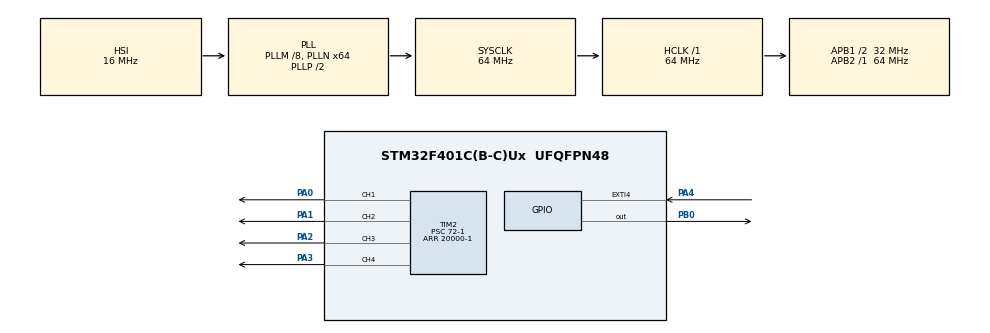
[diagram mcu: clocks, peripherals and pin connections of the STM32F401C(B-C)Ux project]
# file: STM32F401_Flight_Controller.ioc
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FREERTOS.BinarySemaphores01=SemaphoreButton,Dynamic,NULL
FREERTOS.Tasks01=handleButton,16,128,HandleButton,Default,NULL,Dynamic,NULL,NULL
FREERTOS.configUSE_NEWLIB_REENTRANT=1
Mcu.Family=STM32F4
Mcu.Name=STM32F401C(B-C)Ux
Mcu.Package=UFQFPN48
NVIC.EXTI4_IRQn=true\:5\:0\:false\:false\:true\:true\:true\:true
NVIC.PriorityGroup=NVIC_PRIORITYGROUP_4
NVIC.TIM1_UP_TIM10_IRQn=true\:5\:0\:false\:false\:true\:false\:false\:true
NVIC.TimeBase=TIM1_UP_TIM10_IRQn
NVIC.TimeBaseIP=TIM10
PA0-WKUP.Signal=S_TIM2_CH1_ETR
PA1.Signal=S_TIM2_CH2
PA2.Signal=S_TIM2_CH3
PA3.Signal=S_TIM2_CH4
PA4.GPIO_PuPd=GPIO_PULLDOWN
PA4.Signal=GPXTI4
PB0.Signal=GPIO_Output
ProjectManager.HeapSize=0x200
ProjectManager.StackSize=0x400
ProjectManager.TargetToolchain=STM32CubeIDE
RCC.48MHZClocksFreq_Value=32000000
RCC.AHBFreq_Value=64000000
RCC.APB1CLKDivider=RCC_HCLK_DIV2
RCC.APB1Freq_Value=32000000
RCC.APB1TimFreq_Value=64000000
RCC.APB2Freq_Value=64000000
RCC.APB2TimFreq_Value=64000000
RCC.CortexFreq_Value=64000000
RCC.HCLKFreq_Value=64000000
RCC.HSE_VALUE=25000000
RCC.HSI_VALUE=16000000
RCC.LSE_VALUE=32768
RCC.PLLM=8
RCC.PLLN=64
RCC.SYSCLKFreq_VALUE=64000000
RCC.SYSCLKSource=RCC_SYSCLKSOURCE_PLLCLK
RCC.VCOOutputFreq_Value=128000000
SH.S_TIM2_CH1_ETR.0=TIM2_CH1,PWM Generation1 CH1
SH.S_TIM2_CH2.0=TIM2_CH2,PWM Generation2 CH2
SH.S_TIM2_CH3.0=TIM2_CH3,PWM Generation3 CH3
SH.S_TIM2_CH4.0=TIM2_CH4,PWM Generation4 CH4
TIM2.Channel-PWM\ Generation1\ CH1=TIM_CHANNEL_1
TIM2.Channel-PWM\ Generation2\ CH2=TIM_CHANNEL_2
TIM2.Channel-PWM\ Generation3\ CH3=TIM_CHANNEL_3
TIM2.Channel-PWM\ Generation4\ CH4=TIM_CHANNEL_4
TIM2.Period=20000-1
TIM2.Prescaler=72-1
VP_FREERTOS_VS_CMSIS_V2.Mode=CMSIS_V2
VP_SYS_VS_tim10.Mode=TIM10
VP_TIM2_VS_ClockSourceINT.Mode=Internal
board=custom

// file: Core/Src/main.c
/* USER CODE BEGIN Header */
/**
  ******************************************************************************
  * @file           : main.c
  * @brief          : Main program body
  ******************************************************************************
  * @attention
  *
  * <h2><center>&copy; Copyright (c) 2021 STMicroelectronics.
  * All rights reserved.</center></h2>
  *
  * This software component is licensed by ST under Ultimate Liberty license
  * SLA0044, the "License"; You may not use this file except in compliance with
  * the License. You may obtain a copy of the License at:
  *                             www.st.com/SLA0044
  *
  ******************************************************************************
  */
/* USER CODE END Header */
#include "main.h"
#include "cmsis_os.h"
#include "driver.h"

/* USER CODE BEGIN PD */

#define BUTTON_INPUT_PIN GPIO_PIN_4
#define BUTTON_INPUT_PORT GPIOA
/* USER CODE END PD */

TIM_HandleTypeDef htim2;

/* Definitions for handleButton */
osThreadId_t handleButtonHandle;
const osThreadAttr_t handleButton_attributes = {
  .name = "handleButton",
  .stack_size = 128 * 4,
  .priority = (osPriority_t) osPriorityBelowNormal,
};
/* Definitions for SemaphoreButton */
osSemaphoreId_t SemaphoreButtonHandle;
const osSemaphoreAttr_t SemaphoreButton_attributes = {
  .name = "SemaphoreButton"
};

void SystemClock_Config(void);
static void MX_GPIO_Init(void);
static void MX_TIM2_Init(void);
void HandleButton(void *argument);

int main(void)
{

  /* MCU Configuration--------------------------------------------------------*/

  /* Reset of all peripherals, Initializes the Flash interface and the Systick. */
  HAL_Init();

  /* Configure the system clock */
  SystemClock_Config();

  /* USER CODE BEGIN SysInit */
  Innit_System();
  /* USER CODE END SysInit */

  /* Initialize all configured peripherals */
  MX_GPIO_Init();
  MX_TIM2_Init();

  /* Init scheduler */
  osKernelInitialize();

  /* Create the semaphores(s) */
  /* creation of SemaphoreButton */
  SemaphoreButtonHandle = osSemaphoreNew(1, 1, &SemaphoreButton_attributes);

  /* USER CODE BEGIN RTOS_SEMAPHORES */
  /* add semaphores, ... */
  osSemaphoreAcquire(SemaphoreButtonHandle, osWaitForever);
  /* USER CODE END RTOS_SEMAPHORES */

  /* Create the thread(s) */
  /* creation of handleButton */
  handleButtonHandle = osThreadNew(HandleButton, NULL, &handleButton_attributes);

  /* Start scheduler */
  osKernelStart();

  /* We should never get here as control is now taken by the scheduler */
  /* Infinite loop */
  while (1)
  {

  }
}

void SystemClock_Config(void)
{
  RCC_OscInitTypeDef RCC_OscInitStruct = {0};
  RCC_ClkInitTypeDef RCC_ClkInitStruct = {0};

  /** Configure the main internal regulator output voltage
  */
  __HAL_RCC_PWR_CLK_ENABLE();
  __HAL_PWR_VOLTAGESCALING_CONFIG(PWR_REGULATOR_VOLTAGE_SCALE2);
  /** Initializes the RCC Oscillators according to the specified parameters
  * in the RCC_OscInitTypeDef structure.
  */
  RCC_OscInitStruct.OscillatorType = RCC_OSCILLATORTYPE_HSI;
  RCC_OscInitStruct.HSIState = RCC_HSI_ON;
  RCC_OscInitStruct.HSICalibrationValue = RCC_HSICALIBRATION_DEFAULT;
  RCC_OscInitStruct.PLL.PLLState = RCC_PLL_ON;
  RCC_OscInitStruct.PLL.PLLSource = RCC_PLLSOURCE_HSI;
  RCC_OscInitStruct.PLL.PLLM = 8;
  RCC_OscInitStruct.PLL.PLLN = 64;
  RCC_OscInitStruct.PLL.PLLP = RCC_PLLP_DIV2;
  RCC_OscInitStruct.PLL.PLLQ = 4;
  if (HAL_RCC_OscConfig(&RCC_OscInitStruct) != HAL_OK)
  {
    Error_Handler();
  }
  /** Initializes the CPU, AHB and APB buses clocks
  */
  RCC_ClkInitStruct.ClockType = RCC_CLOCKTYPE_HCLK|RCC_CLOCKTYPE_SYSCLK
                              |RCC_CLOCKTYPE_PCLK1|RCC_CLOCKTYPE_PCLK2;
  RCC_ClkInitStruct.SYSCLKSource = RCC_SYSCLKSOURCE_PLLCLK;
  RCC_ClkInitStruct.AHBCLKDivider = RCC_SYSCLK_DIV1;
  RCC_ClkInitStruct.APB1CLKDivider = RCC_HCLK_DIV2;
  RCC_ClkInitStruct.APB2CLKDivider = RCC_HCLK_DIV1;

  if (HAL_RCC_ClockConfig(&RCC_ClkInitStruct, FLASH_LATENCY_2) != HAL_OK)
  {
    Error_Handler();
  }
}

static void MX_TIM2_Init(void)
{

  TIM_ClockConfigTypeDef sClockSourceConfig = {0};
  TIM_MasterConfigTypeDef sMasterConfig = {0};
  TIM_OC_InitTypeDef sConfigOC = {0};

  htim2.Instance = TIM2;
  htim2.Init.Prescaler = 72-1;
  htim2.Init.CounterMode = TIM_COUNTERMODE_UP;
  htim2.Init.Period = 20000-1;
  htim2.Init.ClockDivision = TIM_CLOCKDIVISION_DIV1;
  htim2.Init.AutoReloadPreload = TIM_AUTORELOAD_PRELOAD_DISABLE;
  if (HAL_TIM_Base_Init(&htim2) != HAL_OK)
  {
    Error_Handler();
  }
  sClockSourceConfig.ClockSource = TIM_CLOCKSOURCE_INTERNAL;
  if (HAL_TIM_ConfigClockSource(&htim2, &sClockSourceConfig) != HAL_OK)
  {
    Error_Handler();
  }
  if (HAL_TIM_PWM_Init(&htim2) != HAL_OK)
  {
    Error_Handler();
  }
  sMasterConfig.MasterOutputTrigger = TIM_TRGO_RESET;
  sMasterConfig.MasterSlaveMode = TIM_MASTERSLAVEMODE_DISABLE;
  if (HAL_TIMEx_MasterConfigSynchronization(&htim2, &sMasterConfig) != HAL_OK)
  {
    Error_Handler();
  }
  sConfigOC.OCMode = TIM_OCMODE_PWM1;
  sConfigOC.Pulse = 0;
  sConfigOC.OCPolarity = TIM_OCPOLARITY_HIGH;
  sConfigOC.OCFastMode = TIM_OCFAST_DISABLE;
  if (HAL_TIM_PWM_ConfigChannel(&htim2, &sConfigOC, TIM_CHANNEL_1) != HAL_OK)
  {
    Error_Handler();
  }
  if (HAL_TIM_PWM_ConfigChannel(&htim2, &sConfigOC, TIM_CHANNEL_2) != HAL_OK)
  {
    Error_Handler();
  }
  if (HAL_TIM_PWM_ConfigChannel(&htim2, &sConfigOC, TIM_CHANNEL_3) != HAL_OK)
  {
    Error_Handler();
  }
  if (HAL_TIM_PWM_ConfigChannel(&htim2, &sConfigOC, TIM_CHANNEL_4) != HAL_OK)
  {
    Error_Handler();
  }
  HAL_TIM_MspPostInit(&htim2);

}

static void MX_GPIO_Init(void)
{
  GPIO_InitTypeDef GPIO_InitStruct = {0};

  /* GPIO Ports Clock Enable */
  __HAL_RCC_GPIOA_CLK_ENABLE();
  __HAL_RCC_GPIOB_CLK_ENABLE();

  /*Configure GPIO pin Output Level */
  HAL_GPIO_WritePin(GPIOB, GPIO_PIN_0, GPIO_PIN_RESET);

  /*Configure GPIO pin : PA4 */
  GPIO_InitStruct.Pin = GPIO_PIN_4;
  GPIO_InitStruct.Mode = GPIO_MODE_IT_RISING;
  GPIO_InitStruct.Pull = GPIO_PULLDOWN;
  HAL_GPIO_Init(GPIOA, &GPIO_InitStruct);

  /*Configure GPIO pin : PB0 */
  GPIO_InitStruct.Pin = GPIO_PIN_0;
  GPIO_InitStruct.Mode = GPIO_MODE_OUTPUT_PP;
  GPIO_InitStruct.Pull = GPIO_NOPULL;
  GPIO_InitStruct.Speed = GPIO_SPEED_FREQ_LOW;
  HAL_GPIO_Init(GPIOB, &GPIO_InitStruct);

  /* EXTI interrupt init*/
  HAL_NVIC_SetPriority(EXTI4_IRQn, 5, 0);
  HAL_NVIC_EnableIRQ(EXTI4_IRQn);

}

/* USER CODE BEGIN 4 */

void HAL_GPIO_EXTI_Callback (uint16_t GPIO_Pin)
{
  if (GPIO_Pin == BUTTON_INPUT_PIN)
  {
	osSemaphoreRelease(SemaphoreButtonHandle);
  }
}

void Set_PWM(uint16_t pulse, uint32_t channel)
{
  HAL_TIM_PWM_Stop(&htim2, channel);
  TIM_OC_InitTypeDef sConfigOC;
  HAL_TIM_PWM_Init(&htim2);
  sConfigOC.OCMode = TIM_OCMODE_PWM1;

  sConfigOC.Pulse = pulse;

  sConfigOC.OCPolarity = TIM_OCPOLARITY_HIGH;
  sConfigOC.OCFastMode = TIM_OCFAST_DISABLE;
  HAL_TIM_PWM_ConfigChannel(&htim2, &sConfigOC, channel);

  HAL_TIM_PWM_Start(&htim2, channel);
}

/* USER CODE END 4 */

void HandleButton(void *argument)
{
  /* USER CODE BEGIN 5 */

/* Infinite loop */
  for(;;)
  {
	osSemaphoreAcquire(SemaphoreButtonHandle, osWaitForever); //wait for button input

	osDelay(pdMS_TO_TICKS(70)); //debounce and voltage spike handler

	if (HAL_GPIO_ReadPin(BUTTON_INPUT_PORT, BUTTON_INPUT_PIN))
	{
	  Run_Motors();
	}
	else
	{
      Stop_Motors();
	}
  }
  /* USER CODE END 5 */
}

void HAL_TIM_PeriodElapsedCallback(TIM_HandleTypeDef *htim)
{
  if (htim->Instance == TIM10) {
    HAL_IncTick();
  }
}

void Error_Handler(void)
{
  __disable_irq();
  while (1)
  {
  }
}

/************************ (C) COPYRIGHT STMicroelectronics *****END OF FILE****/
